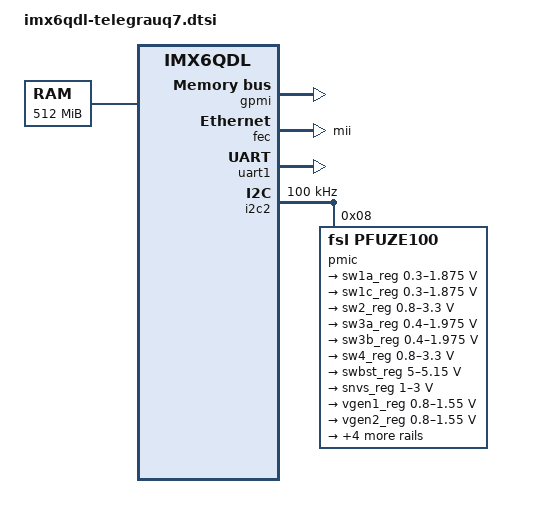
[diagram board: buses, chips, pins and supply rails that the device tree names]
/*
 * Copyright 2014 John Weber, Avnet Electronics Marketing
 * Copyright 2013 Boundary Devices
 * Copyright 2012 Freescale Semiconductor, Inc.
 * Copyright 2011 Linaro Ltd.
 *
 * The code contained herein is licensed under the GNU General Public
 * License. You may obtain a copy of the GNU General Public License
 * Version 2 or later at the following locations:
 *
 * http://www.opensource.org/licenses/gpl-license.html
 * http://www.gnu.org/copyleft/gpl.html
 */

/ {
	aliases {
/*
		mxcfb0 = &mxcfb1;
		mxcfb1 = &mxcfb2;
		mxcfb2 = &mxcfb3;
		mxcfb3 = &mxcfb4;
*/
	};

	memory {
		reg = <0x10000000 0x20000000>;
	};


	mxcfb1: fb@0 {
		compatible = "fsl,mxc_sdc_fb";
		disp_dev = "hdmi";
		interface_pix_fmt = "RGB24";
		mode_str ="1920x1080M@60";
		default_bpp = <24>;
		int_clk = <0>;
		late_init = <0>;
		status = "disabled";
	};

        mxcfb2: fb@1 {
                compatible = "fsl,mxc_sdc_fb";
                disp_dev = "ldb";
                interface_pix_fmt = "RGB666";
                mode_str ="LDB-XGA";
                default_bpp = <16>;
                int_clk = <0>;
                late_init = <0>;
                status = "disabled";
        };

	mxcfb3: fb@2 {
		compatible = "fsl,mxc_sdc_fb";
		disp_dev = "lcd";
		interface_pix_fmt = "RGB565";
		mode_str ="CLAA-WVGA";
		default_bpp = <16>;
		int_clk = <0>;
		late_init = <0>;
		status = "disabled";
	};

	mxcfb4: fb@3 {
		compatible = "fsl,mxc_sdc_fb";
		disp_dev = "ldb";
		interface_pix_fmt = "RGB666";
		mode_str ="LDB-XGA";
		default_bpp = <16>;
		int_clk = <0>;
		late_init = <0>;
		status = "disabled";
	};


	lcd@0 {
		compatible = "fsl,lcd";
		ipu_id = <0>;
		disp_id = <0>;
		default_ifmt = "RGB565";
		pinctrl-names = "default";
		pinctrl-0 = <&pinctrl_ipu1_1>;
		status = "disabled";
	};

	backlight_lcd {
		compatible = "pwm-backlight";
		pwms = <&pwm1 0 5000000>;
		brightness-levels = <0 4 8 16 32 64 128 255>;
		default-brightness-level = <7>;
		status = "disabled";
	};

	backlight_lvds {
		compatible = "pwm-backlight";
		pwms = <&pwm4 0 5000000>;
		brightness-levels = <0 4 8 16 32 64 128 255>;
		default-brightness-level = <7>;
		status = "disabled";
	};

	v4l2_cap_0 {
		compatible = "fsl,imx6q-v4l2-capture";
		ipu_id = <0>;
		csi_id = <0>;
		mclk_source = <0>;
		status = "disabled";
	};

	v4l2_out {
		compatible = "fsl,mxc_v4l2_output";
		status = "disabled";
/*		status = "okay"; */
	};

};

&cpu0 {
    arm-supply = <&reg_arm>;
    soc-supply = <&reg_soc>;
    pu-supply = <&reg_pu>; /* use pu_dummy if VDDSOC share with VDDPU */
};

&gpc {
    fsl,ldo-bypass = <0>; /* use ldo-bypass, u-boot will check it and configure */
    fsl,wdog-reset = <1>; /* watchdog select of reset source */
    pu-supply = <&reg_pu>; /* ldo-bypass:use pu_dummy if VDDSOC share with VDDPU */
};

&gpu {
    pu-supply = <&reg_pu>; /* ldo-bypass:use pu_dummy if VDDSOC share with VDDPU */
};

&vpu {
    pu-supply = <&reg_pu>; /* ldo-bypass:use pu_dummy if VDDSOC share with VDDPU */
};


&gpmi {
	status = "okay";
};

&fec {
	pinctrl-names = "default";
	pinctrl-0 = <&pinctrl_enet_4>;
	phy-mode = "mii";
	status = "okay";
        power = <&vgen6_reg>;
};



/*
For reference here, the PAD_CTL bitfield definition from
Documentation/devicetree/bindings/pinctrl/fsl,imx6q-pinctrl.txt

CONFIG bits definition:
PAD_CTL_HYS                     (1 << 16)
PAD_CTL_PUS_100K_DOWN           (0 << 14)
PAD_CTL_PUS_47K_UP              (1 << 14)
PAD_CTL_PUS_100K_UP             (2 << 14)
PAD_CTL_PUS_22K_UP              (3 << 14)
PAD_CTL_PUE                     (1 << 13)
PAD_CTL_PKE                     (1 << 12)
PAD_CTL_ODE                     (1 << 11)
PAD_CTL_SPEED_LOW               (1 << 6)
PAD_CTL_SPEED_MED               (2 << 6)
PAD_CTL_SPEED_HIGH              (3 << 6)
PAD_CTL_DSE_DISABLE             (0 << 3)
PAD_CTL_DSE_240ohm              (1 << 3)
PAD_CTL_DSE_120ohm              (2 << 3)
PAD_CTL_DSE_80ohm               (3 << 3)
PAD_CTL_DSE_60ohm               (4 << 3)
PAD_CTL_DSE_48ohm               (5 << 3)
PAD_CTL_DSE_40ohm               (6 << 3)
PAD_CTL_DSE_34ohm               (7 << 3)
PAD_CTL_SRE_FAST                (1 << 0)
PAD_CTL_SRE_SLOW                (0 << 0)

Example, the Control Pad Setting

    0x0f0b0

corresponds to:

   0b1111000010110000

which is:

   PAD_CTL_PUS_22K_UP | PAD_CTL_PUE | PAD_CTL_PKE |
   PAD_CTL_SPEED_MED | PAD_CTL_DSE_40ohm

For more information about this, refer to the IOMUXC section of the i.MX6
reference manual.

*/

&uart1 {
	pinctrl-names = "default";
	pinctrl-0 = <&pinctrl_uart1_2>;
	status = "okay";
};

&i2c2 {
        clock-frequency = <100000>;
        pinctrl-names = "default";
        pinctrl-0 = <&pinctrl_i2c2_4>;
        status = "okay";

        pmic: pfuze100@08 {
            compatible = "fsl,pfuze100";
            reg = <0x08>;

            regulators {
                    sw1a_reg: sw1ab {
                            regulator-min-microvolt = <300000>;
                            regulator-max-microvolt = <1875000>;
                            regulator-boot-on;
                            regulator-always-on;
                            regulator-ramp-delay = <6250>;
                    };

                    sw1c_reg: sw1c {
                            regulator-min-microvolt = <300000>;
                            regulator-max-microvolt = <1875000>;
                            regulator-boot-on;
                            regulator-always-on;
                            regulator-ramp-delay = <6250>;
                    };

                    sw2_reg: sw2 {
                            regulator-min-microvolt = <800000>;
                            regulator-max-microvolt = <3300000>;
                            regulator-boot-on;
                            regulator-always-on;
                    };

                    sw3a_reg: sw3a {
                            regulator-min-microvolt = <400000>;
                            regulator-max-microvolt = <1975000>;
                            regulator-boot-on;
                            regulator-always-on;
                    };

                    sw3b_reg: sw3b {
                            regulator-min-microvolt = <400000>;
                            regulator-max-microvolt = <1975000>;
                            regulator-boot-on;
                            regulator-always-on;
                    };

                    sw4_reg: sw4 {
                            regulator-min-microvolt = <800000>;
                            regulator-max-microvolt = <3300000>;
                    };

                    swbst_reg: swbst {
                            regulator-min-microvolt = <5000000>;
                            regulator-max-microvolt = <5150000>;
                    };

                    snvs_reg: vsnvs {
                            regulator-min-microvolt = <1000000>;
                            regulator-max-microvolt = <3000000>;
                            regulator-boot-on;
                            regulator-always-on;
                    };

                    vref_reg: vrefddr {
                            regulator-boot-on;
                            regulator-always-on;
                    };

                    vgen1_reg: vgen1 {
                            regulator-min-microvolt = <800000>;
                            regulator-max-microvolt = <1550000>;
                    };

                    vgen2_reg: vgen2 {
                            regulator-min-microvolt = <800000>;
                            regulator-max-microvolt = <1550000>;
                    };

                    vgen3_reg: vgen3 {
                            regulator-min-microvolt = <1800000>;
                            regulator-max-microvolt = <2500000>;
                    };

                    vgen4_reg: vgen4 {
                            regulator-min-microvolt = <400000>;
                            regulator-max-microvolt = <1975000>;
                            regulator-always-on;
                    };

                    vgen5_reg: vgen5 {
                            regulator-min-microvolt = <1800000>;
                            regulator-max-microvolt = <2800000>;
                            regulator-always-on;
                    };

                    vgen6_reg: vgen6 {
                            regulator-min-microvolt = <1800000>;
                            regulator-max-microvolt = <3300000>;
                            regulator-always-on;
                    };
            };
        };
};
